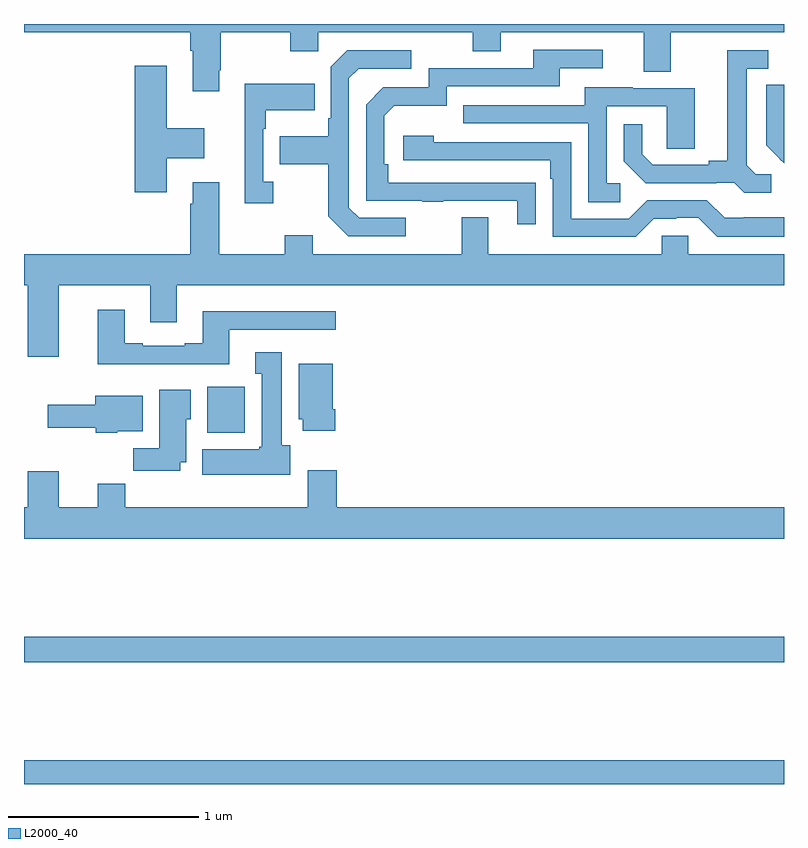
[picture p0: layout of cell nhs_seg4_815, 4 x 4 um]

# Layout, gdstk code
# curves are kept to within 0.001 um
import gdstk
lib = gdstk.Library(unit=1e-6, precision=1e-09)
def R(c, l, rs):  # rectangles x0, y0, x1, y1
    for r in rs: c.add(gdstk.rectangle(r[:2], r[2:], *l))
def P(c, l, *ps):  # polygons
    for p in ps: c.add(gdstk.Polygon(p, *l))
L2000_40 = (2000, 40)

nhs_seg4_815 = lib.new_cell('nhs_seg4_815')
R(nhs_seg4_815, L2000_40, [(153,756.9,157,757.024), (153,757.54,157,757.676), (153.965,758.75,154.162,758.992)])
P(nhs_seg4_815, L2000_40, [(154.027,760.657),(154.035,760.657),(154.035,760.856),(154.402,760.856),(154.402,760.757),(154.548,760.757),(154.548,760.856),(155.362,760.856),(155.362,760.757),(155.509,760.757),(155.509,760.856),(156.263,760.856),(156.263,760.648),(156.403,760.648),(156.403,760.856),(157,760.856),(157,760.9),(153,760.9),(153,760.856),(153.875,760.856),(153.875,760.76),(153.887,760.76),(153.887,760.545),(154.027,760.545)],
  [(155.693,760.064),(154.916,760.065),(154.916,760.162),(154.896,760.162),(154.896,760.416),(154.949,760.469),(155.226,760.469),(155.226,760.572),(155.821,760.572),(155.821,760.668),(156.046,760.668),(156.046,760.764),(155.681,760.764),(155.681,760.668),(155.13,760.668),(155.13,760.566),(154.89,760.566),(154.8,760.476),(154.8,759.969),(155.095,759.969),(155.095,759.964),(155.207,759.964),(155.207,759.969),(155.597,759.969),(155.597,759.846),(155.693,759.846)],
  [(155.008,759.879),(154.764,759.879),(154.71,759.933),(154.71,760.614),(154.761,760.665),(155.038,760.665),(155.038,760.761),(154.701,760.761),(154.614,760.674),(154.614,760.405),(154.602,760.405),(154.602,760.309),(154.345,760.309),(154.345,760.162),(154.602,760.162),(154.602,759.889),(154.707,759.783),(155.008,759.783)],
  [(156.934,760.11),(156.852,760.11),(156.805,760.157),(156.805,760.665),(156.916,760.665),(156.916,760.761),(156.701,760.761),(156.701,760.181),(156.605,760.181),(156.605,760.158),(156.31,760.158),(156.253,760.215),(156.253,760.372),(156.156,760.372),(156.156,760.178),(156.272,760.062),(156.644,760.062),(156.644,760.065),(156.738,760.065),(156.79,760.013),(156.934,760.013)],
  [(153.751,760.193),(153.949,760.193),(153.949,760.351),(153.751,760.351),(153.751,760.681),(153.584,760.681),(153.584,760.014),(153.751,760.014)],
  [(154.312,760.07),(154.26,760.07),(154.26,760.349),(154.273,760.349),(154.273,760.445),(154.529,760.445),(154.529,760.585),(154.163,760.585),(154.163,759.957),(154.312,759.957)],
  [(157,760.58),(156.906,760.58),(156.906,760.262),(156.979,760.189),(156.978,760.188),(157,760.166)],
  [(156.139,760.062),(156.066,760.062),(156.066,760.467),(156.384,760.467),(156.384,760.243),(156.529,760.243),(156.529,760.563),(156.205,760.563),(156.205,760.567),(155.951,760.567),(155.951,760.473),(155.311,760.473),(155.311,760.377),(155.97,760.377),(155.97,759.961),(156.139,759.961)],
  [(157,759.883),(156.787,759.883),(156.787,759.879),(156.687,759.879),(156.594,759.972),(156.279,759.972),(156.183,759.876),(155.88,759.876),(155.88,760.278),(155.156,760.278),(155.156,760.312),(154.995,760.312),(154.995,760.182),(155.771,760.182),(155.771,760.085),(155.784,760.085),(155.784,759.78),(156.219,759.78),(156.315,759.876),(156.434,759.876),(156.434,759.879),(156.549,759.879),(156.649,759.779),(157,759.779)],
  [(153.184,759.524),(153.665,759.524),(153.665,759.33),(153.805,759.33),(153.805,759.524),(157,759.524),(157,759.688),(156.495,759.688),(156.495,759.786),(156.357,759.786),(156.357,759.688),(155.443,759.688),(155.443,759.883),(155.303,759.883),(155.303,759.688),(154.519,759.688),(154.519,759.787),(154.372,759.787),(154.372,759.688),(154.027,759.688),(154.027,760.066),(153.887,760.066),(153.887,759.953),(153.875,759.953),(153.875,759.688),(153,759.688),(153,759.524),(153.02,759.524),(153.02,759.15),(153.184,759.15)],
  [(154.081,759.291),(154.642,759.291),(154.642,759.388),(153.941,759.388),(153.941,759.22),(153.845,759.22),(153.845,759.207),(153.625,759.207),(153.625,759.22),(153.529,759.22),(153.529,759.397),(153.389,759.397),(153.389,759.11),(154.081,759.11)],
  [(154.402,758.682),(154.357,758.682),(154.357,759.172),(154.217,759.172),(154.217,759.059),(154.25,759.059),(154.25,758.676),(154.237,758.676),(154.237,758.662),(153.938,758.662),(153.938,758.528),(154.402,758.528)],
  [(154.637,758.872),(154.624,758.872),(154.624,759.112),(154.445,759.112),(154.445,758.82),(154.466,758.82),(154.466,758.76),(154.637,758.76)],
  [(153.823,758.594),(153.853,758.594),(153.853,758.82),(153.877,758.82),(153.877,758.974),(153.713,758.974),(153.713,758.668),(153.574,758.668),(153.574,758.55),(153.823,758.55)],
  [(153.492,758.756),(153.625,758.756),(153.625,758.944),(153.374,758.944),(153.374,758.896),(153.126,758.896),(153.126,758.774),(153.378,758.774),(153.378,758.75),(153.492,758.75)],
  [(157,758.356),(154.646,758.356),(154.646,758.551),(154.493,758.551),(154.493,758.356),(153.533,758.356),(153.533,758.48),(153.389,758.48),(153.389,758.356),(153.184,758.356),(153.184,758.545),(153.02,758.545),(153.02,758.356),(153,758.356),(153,758.192),(157,758.192)])

lib.write_gds('nhs_seg4_815.gds')
